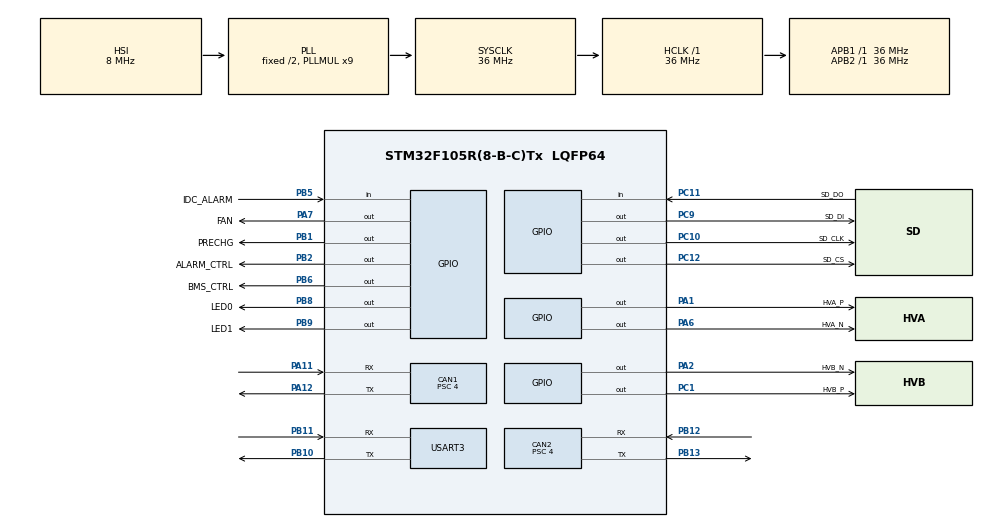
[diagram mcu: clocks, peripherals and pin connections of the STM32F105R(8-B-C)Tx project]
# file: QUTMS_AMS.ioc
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CAN1.BS1=CAN_BS1_15TQ
CAN1.BS2=CAN_BS2_2TQ
CAN1.CalculateBaudRate=500000
CAN1.CalculateTimeBit=2000
CAN1.CalculateTimeQuantum=111.11111111111111
CAN1.Mode=CAN_MODE_NORMAL
CAN1.Prescaler=4
CAN2.BS1=CAN_BS1_15TQ
CAN2.BS2=CAN_BS2_2TQ
CAN2.CalculateBaudRate=500000
CAN2.CalculateTimeBit=2000
CAN2.CalculateTimeQuantum=111.11111111111111
CAN2.Prescaler=4
Mcu.Family=STM32F1
Mcu.Name=STM32F105R(8-B-C)Tx
Mcu.Package=LQFP64
NVIC.CAN1_RX0_IRQn=true\:0\:0\:false\:false\:true\:true\:true
NVIC.CAN1_RX1_IRQn=true\:0\:0\:false\:false\:true\:true\:true
NVIC.CAN2_RX0_IRQn=true\:0\:0\:false\:false\:true\:true\:true
NVIC.CAN2_RX1_IRQn=true\:0\:0\:false\:false\:true\:true\:true
NVIC.PriorityGroup=NVIC_PRIORITYGROUP_4
NVIC.TIM6_IRQn=true\:0\:0\:false\:false\:true\:false\:true
NVIC.TimeBase=TIM6_IRQn
NVIC.TimeBaseIP=TIM6
PA1.GPIO_Label=HVA_P
PA1.Signal=GPIO_Output
PA11.GPIO_PuPd=GPIO_PULLUP
PA11.Mode=CAN_Activate
PA11.Signal=CAN1_RX
PA12.Mode=CAN_Activate
PA12.Signal=CAN1_TX
PA13.Mode=JTAG_4_pins
PA13.Signal=SYS_JTMS-SWDIO
PA14.Mode=JTAG_4_pins
PA14.Signal=SYS_JTCK-SWCLK
PA15.Mode=JTAG_4_pins
PA15.Signal=SYS_JTDI
PA2.GPIO_Label=HVB_N
PA2.Signal=GPIO_Output
PA6.GPIO_Label=HVA_N
PA6.Signal=GPIO_Output
PA7.GPIO_Label=FAN
PA7.Signal=GPIO_Output
PB1.GPIO_Label=PRECHG
PB1.Signal=GPIO_Output
PB10.Mode=Asynchronous
PB10.Signal=USART3_TX
PB11.Mode=Asynchronous
PB11.Signal=USART3_RX
PB12.GPIO_PuPd=GPIO_PULLUP
PB12.Mode=CAN_Activate
PB12.Signal=CAN2_RX
PB13.Mode=CAN_Activate
PB13.Signal=CAN2_TX
PB2.GPIO_Label=ALARM_CTRL
PB2.GPIO_PuPd=GPIO_PULLDOWN
PB2.Signal=GPIO_Output
PB3.Mode=JTAG_4_pins
PB3.Signal=SYS_JTDO
PB5.GPIO_Label=IDC_ALARM
PB5.Signal=GPIO_Input
PB6.GPIO_Label=BMS_CTRL
PB6.Signal=GPIO_Output
PB7.GPIO_Label=BUZZER
PB7.Signal=S_TIM4_CH2
PB8.GPIO_Label=LED0
PB8.GPIO_ModeDefaultOutputPP=GPIO_MODE_OUTPUT_PP
PB8.GPIO_PuPd=GPIO_PULLDOWN
PB8.Signal=GPIO_Output
PB9.GPIO_Label=LED1
PB9.GPIO_ModeDefaultOutputPP=GPIO_MODE_OUTPUT_PP
PB9.GPIO_PuPd=GPIO_PULLDOWN
PB9.Signal=GPIO_Output
PC1.GPIO_Label=HVB_P
PC1.Signal=GPIO_Output
PC10.GPIO_Label=SD_CLK
PC10.Signal=GPIO_Output
PC11.GPIO_Label=SD_DO
PC11.Signal=GPIO_Input
PC12.GPIO_Label=SD_CS
PC12.Signal=GPIO_Output
PC9.GPIO_Label=SD_DI
PC9.Signal=GPIO_Output
ProjectManager.HeapSize=0x200
ProjectManager.StackSize=0x400
ProjectManager.TargetToolchain=STM32CubeIDE
RCC.AHBFreq_Value=36000000
RCC.APB1Freq_Value=36000000
RCC.APB1TimFreq_Value=36000000
RCC.APB2Freq_Value=36000000
RCC.APB2TimFreq_Value=36000000
RCC.HCLKFreq_Value=36000000
RCC.PLLMUL=RCC_PLL_MUL9
RCC.SYSCLKFreq_VALUE=36000000
RCC.SYSCLKSource=RCC_SYSCLKSOURCE_PLLCLK
RCC.USBFreq_Value=24000000
SH.S_TIM4_CH2.0=TIM4_CH2
TIM4.Channel-PWM\ Generation2\ No\ Output=TIM_CHANNEL_2
USART3.VirtualMode=VM_ASYNC
VP_SYS_VS_tim6.Mode=TIM6
VP_TIM4_VS_no_output2.Mode=PWM Generation2 No Output
board=custom

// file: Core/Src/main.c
/* USER CODE BEGIN Header */
/**
 ******************************************************************************
 * @file           : main.c
 * @brief          : Main program body
 ******************************************************************************
 * @attention
 *
 * <h2><center>&copy; Copyright (c) 2021 STMicroelectronics.
 * All rights reserved.</center></h2>
 *
 * This software component is licensed by ST under BSD 3-Clause license,
 * the "License"; You may not use this file except in compliance with the
 * License. You may obtain a copy of the License at:
 *                        opensource.org/licenses/BSD-3-Clause
 *
 ******************************************************************************
 */
/* USER CODE END Header */
#include "main.h"
#include "can.h"
#include "tim.h"
#include "usart.h"
#include "gpio.h"

/* USER CODE BEGIN Includes */
#include <sys/unistd.h>

#include <FSM.h>

#include "states.h"
#include "debugCAN.h"
#include "heartbeat.h"
#include "can_dict.h"
#include "sendyne.h"
#include "bms.h"
/* USER CODE END Includes */

/* USER CODE BEGIN PV */
fsm_t fsm;
/* USER CODE END PV */

void SystemClock_Config(void);
/* USER CODE BEGIN PFP */
void fsm_log_uart(const char *data, size_t len);
void fsm_state_enter(fsm_t *fsm_def);
void fsm_state_exit(fsm_t *fsm_def);
/* USER CODE END PFP */

/* USER CODE BEGIN 0 */
#ifdef PRINTF_TO_UART
/** Override _write to log to UART */
int _write(int file, char *data, int len) {
	if ((file != STDOUT_FILENO) && (file != STDERR_FILENO)) {
		return -1;
	}
	HAL_StatusTypeDef s = HAL_UART_Transmit(&huart3, (uint8_t*) data, len, UART_TIMEOUT);

	return (s == HAL_OK ? len : 0);
}
#endif
/* USER CODE END 0 */

int main(void) {

	/* MCU Configuration--------------------------------------------------------*/

	/* Reset of all peripherals, Initializes the Flash interface and the Systick. */
	HAL_Init();

	/* Configure the system clock */
	SystemClock_Config();

	/* Initialize all configured peripherals */
	MX_GPIO_Init();
	MX_CAN1_Init();
	MX_TIM4_Init();
	MX_CAN2_Init();
	MX_USART3_UART_Init();
	/* USER CODE BEGIN 2 */

	fsm.log = &fsm_log_uart;
	fsm_init(&fsm, &state_start, &fsm_state_enter, &fsm_state_exit);

	/* USER CODE END 2 */

	/* Infinite loop */
	while (1) {

		/* USER CODE BEGIN 3 */
		// update key timers
		timer_update(&timer_heartbeat, NULL);
		timer_update(&timer_OD, NULL);
		timer_update(&bms_timer, NULL);
		timer_update(&bms_reboot_timer, NULL);
		sendyne_timer_update();

		// continue fsm
		fsm_iterate(&fsm);
	}
	/* USER CODE END 3 */
}

void SystemClock_Config(void) {
	RCC_OscInitTypeDef RCC_OscInitStruct = { 0 };
	RCC_ClkInitTypeDef RCC_ClkInitStruct = { 0 };

	/** Initializes the RCC Oscillators according to the specified parameters
	 * in the RCC_OscInitTypeDef structure.
	 */
	RCC_OscInitStruct.OscillatorType = RCC_OSCILLATORTYPE_HSI;
	RCC_OscInitStruct.HSIState = RCC_HSI_ON;
	RCC_OscInitStruct.HSICalibrationValue = RCC_HSICALIBRATION_DEFAULT;
	RCC_OscInitStruct.Prediv1Source = RCC_PREDIV1_SOURCE_HSE;
	RCC_OscInitStruct.PLL.PLLState = RCC_PLL_ON;
	RCC_OscInitStruct.PLL.PLLSource = RCC_PLLSOURCE_HSI_DIV2;
	RCC_OscInitStruct.PLL.PLLMUL = RCC_PLL_MUL9;
	RCC_OscInitStruct.PLL2.PLL2State = RCC_PLL_NONE;
	if (HAL_RCC_OscConfig(&RCC_OscInitStruct) != HAL_OK) {
		Error_Handler();
	}
	/** Initializes the CPU, AHB and APB buses clocks
	 */
	RCC_ClkInitStruct.ClockType = RCC_CLOCKTYPE_HCLK | RCC_CLOCKTYPE_SYSCLK | RCC_CLOCKTYPE_PCLK1 | RCC_CLOCKTYPE_PCLK2;
	RCC_ClkInitStruct.SYSCLKSource = RCC_SYSCLKSOURCE_PLLCLK;
	RCC_ClkInitStruct.AHBCLKDivider = RCC_SYSCLK_DIV1;
	RCC_ClkInitStruct.APB1CLKDivider = RCC_HCLK_DIV1;
	RCC_ClkInitStruct.APB2CLKDivider = RCC_HCLK_DIV1;

	if (HAL_RCC_ClockConfig(&RCC_ClkInitStruct, FLASH_LATENCY_1) != HAL_OK) {
		Error_Handler();
	}
	/** Configure the Systick interrupt time
	 */
	__HAL_RCC_PLLI2S_ENABLE();
}

/* USER CODE BEGIN 4 */
void fsm_state_enter(fsm_t *fsm_def) {
	AMS_hbState.stateID = fsm_def->currentState->stateID;
	debugCAN_enterState(fsm_def->currentState->stateID);
}

void fsm_state_exit(fsm_t *fsm_def) {
	debugCAN_exitState(fsm_def->currentState->stateID);
}

void fsm_log_uart(const char *data, size_t len) {
	HAL_UART_Transmit(&huart3, (uint8_t*) data, len,
	UART_TIMEOUT);
}
/* USER CODE END 4 */

void HAL_TIM_PeriodElapsedCallback(TIM_HandleTypeDef *htim) {
	if (htim->Instance == TIM6) {
		HAL_IncTick();
	}
}

void Error_Handler(void) {
	/* USER CODE BEGIN Error_Handler_Debug */
	/* User can add his own implementation to report the HAL error return state */
	printf("error handler\r\n");
	/* USER CODE END Error_Handler_Debug */
}
